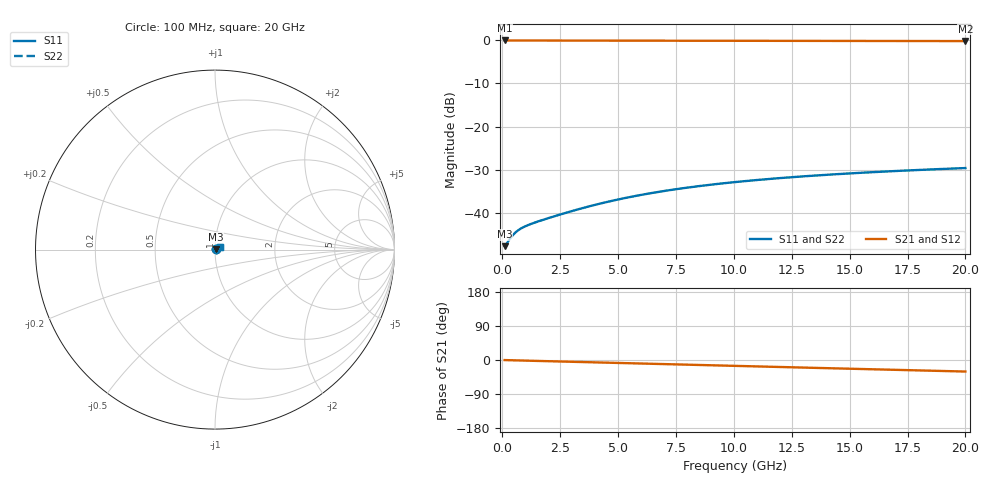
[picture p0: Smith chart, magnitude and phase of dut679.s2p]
! Touchstone file exported from HFSS 2026.1.0
!  File:  C:/ffzhzh/LocalFiles/Ansys_Project_Files/temp_train_BSMRDL_679_1783017496_4048.aedt
!  Generated:  02:39:32 AM Jul  3, 2026
!  Design:  BSMRDL
!  Project:  temp_train_BSMRDL_679_1783017496_4048
! Variables:
!  h_bsmrdl = 3.32um
!  h_ox = 20um
!  h_rdl = 5um
!  h_sub = 80um
!  h_tmrdl = 5um
!  h_tsv = 80um
!  h_via = 3um
!  l_bsmrdl = 548.11um
!  l_sub = 948.11um
!  l_tmrdl = 200um
!  m_sub = 200um
!  pitch = 18.88um
!  r_tsv = 6um
!  s_tmrdl = 10um
!  w_bsmrdl = 15.17um
!  w_sub = 500um
!  w_tmrdl = 12um
!  x_tsv_center1 = 206um
!  x_tsv_center2 = 769.28um
!  x_tsv_center3 = 981.28um
!  x_tsv_center4 = 1544.56um
!  x_tsv_center5 = 1756.56um
!  x_tsv_center6 = 2319.84um
# GHz S MA R 50.000000
! Terminal data exported
! Port[1] = BSM_RDL1_1_T1
! Port[2] = BSM_RDL1_1_T2
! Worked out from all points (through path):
!   200 points, 100 MHz to 20 GHz, reference 50 ohm
!   highest |S21| = -0.04 dB at 100 MHz (marker M1); lowest = -0.2 dB at 20 GHz (marker M2)
!   group delay of S21, straight-line fit = 4.22 ps
!   lowest |S11| = -47.8 dB at 100 MHz (marker M3), VSWR 1.01, Z = 50.4 + j0.0693 ohm
!   |S11| at or under -10 dB: start of sweep to end of sweep
!   |S22| runs from -47.8 to -29.6 dB; largest |S21 - S12| = 4.1e-15
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0.1  0.00409 9.7  0.996 -0.2  0.996 -0.2  0.00409 9.7
! Gamma 0 0 0 0
! Port Impedance 50 0 50 0
0.2  0.004422 17.1  0.9957 -0.4  0.9957 -0.4  0.004457 16.8
0.3  0.004845 21.7  0.9954 -0.5  0.9954 -0.5  0.004905 21.1
0.4  0.005272 24.4  0.9951 -0.7  0.9951 -0.7  0.005338 23.4
0.5  0.00566 25.9  0.9948 -0.9  0.9948 -0.9  0.005717 24.7
0.6  0.005998 26.8  0.9946 -1.0  0.9946 -1.0  0.006038 25.6
0.7  0.00629 27.5  0.9944 -1.2  0.9944 -1.2  0.006311 26.2
0.9  0.006769 28.5  0.9941 -1.5  0.9941 -1.5  0.006757 27.4
1.2  0.00734 30.2  0.9937 -2.0  0.9937 -2.0  0.007298 29.5
1.7  0.008171 33.4  0.9934 -2.7  0.9934 -2.7  0.008117 33.1
2.7  0.009886 39.0  0.9928 -4.3  0.9928 -4.3  0.009857 38.9
3.5  0.01137 41.7  0.9922 -5.5  0.9922 -5.5  0.01136 41.7
4.3  0.0129 43.2  0.9916 -6.8  0.9916 -6.8  0.0129 43.2
5.1  0.01442 43.8  0.991 -8.0  0.991 -8.0  0.01444 43.7
5.9  0.01592 43.7  0.9903 -9.2  0.9903 -9.2  0.01594 43.6
6.8  0.01753 43.2  0.9895 -10.6  0.9895 -10.6  0.01756 43.0
8.4  0.0202 41.3  0.988 -13.1  0.988 -13.1  0.02023 41.1
10.1  0.02273 38.9  0.9864 -15.6  0.9864 -15.6  0.02278 38.6
11.7  0.02485 36.4  0.985 -18.1  0.985 -18.1  0.02492 36.1
13.4  0.02686 33.7  0.9837 -20.6  0.9837 -20.6  0.02696 33.4
16.7  0.0302 28.6  0.9813 -25.5  0.9813 -25.5  0.03034 28.2
20  0.03296 23.8  0.9793 -30.5  0.9793 -30.5  0.03317 23.2
